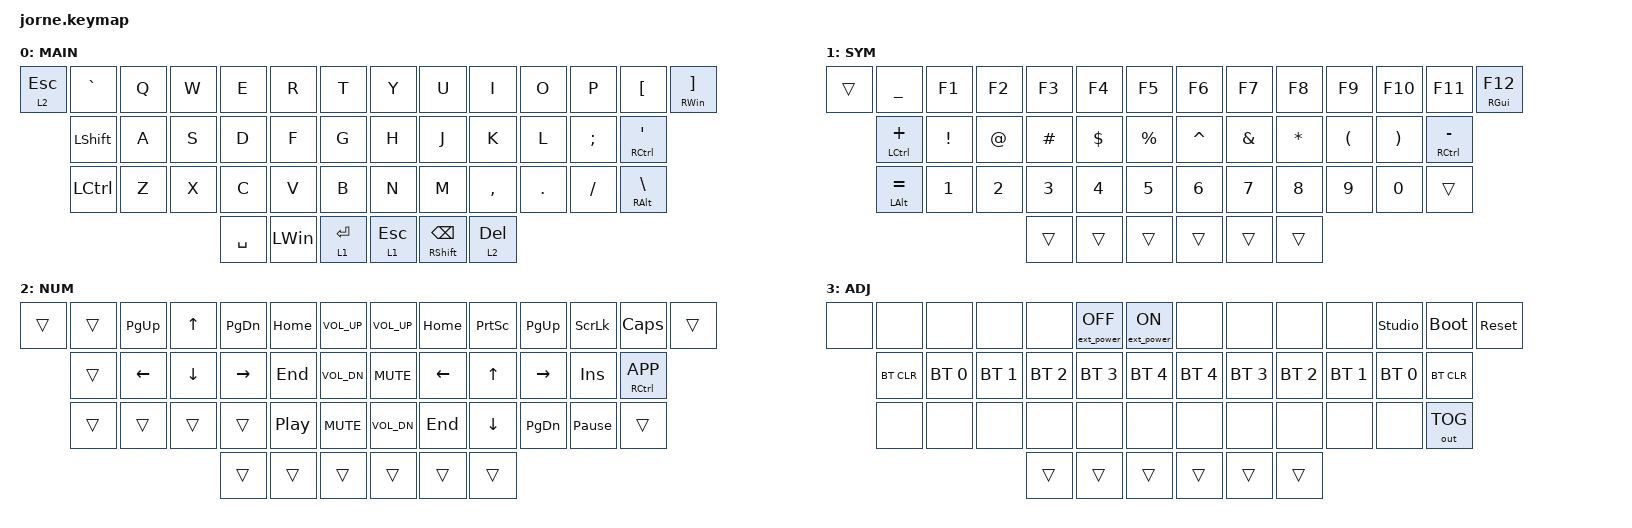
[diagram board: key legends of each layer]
/*
 * Copyright (c) 2020 The ZMK Contributors
 *
 * SPDX-License-Identifier: MIT
 */

#include <behaviors.dtsi>
#include <dt-bindings/zmk/bt.h>
#include <dt-bindings/zmk/ext_power.h>
#include <dt-bindings/zmk/keys.h>
#include <dt-bindings/zmk/outputs.h>

#define DEF 0
#define LWR 1
#define RSE 2
#define ADJ 3

&lt { quick-tap-ms = <200>; };

&mt { quick-tap-ms = <200>; };

/ {
    conditional_layers {
        compatible = "zmk,conditional-layers";

        tri_layer {
            if-layers = <1 2>;
            then-layer = <3>;
        };
    };

    combos { compatible = "zmk,combos"; };

    keymap {
        compatible = "zmk,keymap";

        default_layer {
            display-name = "MAIN";

            // -----------------------------------------------------------------------------------------
            // |  GUI |   ~  |  Q  |  W  |  E  |  R  |  T  |   |  Y  |  U   |  I  |  O  |  P  |  [   | GUI/] |
            //        | CTRL |  A  |  S  |  D  |  F  |  G  |   |  H  |  J   |  K  |  L  |  ;  |CTRL/'|
            //        | LALT |  Z  |  X  |  C  |  V  |  B  |   |  N  |  M   |  ,  |  .  |  /  |RALT/\|
            //                           | RSE | SPC | LWR |   | LWR | BSPC | RSE |

            bindings = <
&lt 2 ESCAPE  &kp GRAVE         &kp Q  &kp W  &kp E      &kp R         &kp T          &kp Y      &kp U           &kp I      &kp O    &kp P     &kp LBKT       &mt RWIN RBKT
              &kp LEFT_SHIFT    &kp A  &kp S  &kp D      &kp F         &kp G          &kp H      &kp J           &kp K      &kp L    &kp SEMI  &mt RCTRL SQT
              &kp LEFT_CONTROL  &kp Z  &kp X  &kp C      &kp V         &kp B          &kp N      &kp M           &kp COMMA  &kp DOT  &kp FSLH  &mt RALT BSLH
                                              &kp SPACE  &kp LEFT_WIN  &lt 1 ENTER    &lt 1 ESC  &mt RSHFT BSPC  &lt 2 DEL
            >;
        };

        lower_layer {
            display-name = "SYM";

            // -----------------------------------------------------------------------------------------
            // |     |  _  |  F1 |  F2 |  F3 |  F4 |  F5 |   |  F6 |  F7 |  F8 |  F9 | F10 | F11 | F12 |
            //       |  +  |  !  |  @  |  #  |  $  |  %  |   |  ^  |  &  |  *  |  (  |  )  |  -  |
            //       |  =  |  1  |  2  |  3  |  4  |  5  |   |  6  |  7  |  8  |  9  |  0  |     |
            //                         | ADJ |     |     |   |     |     | ADJ |

            bindings = <
&trans  &kp UNDER       &kp F1    &kp F2  &kp F3    &kp F4    &kp F5       &kp F6     &kp F7    &kp F8    &kp F9    &kp F10   &kp F11          &mt RGUI F12
        &mt LCTRL PLUS  &kp EXCL  &kp AT  &kp HASH  &kp DLLR  &kp PRCNT    &kp CARET  &kp AMPS  &kp STAR  &kp LPAR  &kp RPAR  &mt RCTRL MINUS
        &mt LALT EQUAL  &kp N1    &kp N2  &kp N3    &kp N4    &kp N5       &kp N6     &kp N7    &kp N8    &kp N9    &kp N0    &trans
                                          &trans    &trans    &trans       &trans     &trans    &trans
            >;
        };

        raise_layer {
            display-name = "NUM";

            // -----------------------------------------------------------------------------------------
            // |     | NMLK |  /  |  7  |  8  |  9  |  -  |   | VOLU| HOME| PRSC| PGUP| SCLK| CLCK|     |
            //       |CTRL/=|  *  |  4  |  5  |  6  |  +  |   | MUT | LEFT|  UP | RGHT| INS | APP |
            //       |      |  0  |  1  |  2  |  3  |  .  |   | VOLD| END | DOWN| PGDN| PAUS|     |
            //                          |     |     | ADJ |   | ADJ |     |     |

            bindings = <
&trans  &trans  &kp PG_UP  &kp UP    &kp PG_DN  &kp HOME          &kp C_VOLUME_UP    &kp C_VOL_UP  &kp HOME  &kp PSCRN  &kp PG_UP  &kp SLCK         &kp CAPS         &trans
        &trans  &kp LEFT   &kp DOWN  &kp RIGHT  &kp END           &kp C_VOL_DN       &kp C_MUTE    &kp LEFT  &kp UP     &kp RIGHT  &kp INS          &mt RCTRL K_APP
        &trans  &trans     &trans    &trans     &kp C_PLAY_PAUSE  &kp C_MUTE         &kp C_VOL_DN  &kp END   &kp DOWN   &kp PG_DN  &kp PAUSE_BREAK  &trans
                                     &trans     &trans            &trans             &trans        &trans    &trans
            >;
        };

        adjust_layer {
            display-name = "ADJ";

            // -----------------------------------------------------------------------------------------
            // | RST | BLDR | STU |     |     |     |     |   |     |     |     |     | STU | BLDR | RST |
            //       | BTCLR| BT0 | BT1 | BT2 | BT3 | BT4 |   | BT4 | BT3 | BT2 | BT1 | BT0 | BTCLR|
            //       | OUT  |     |     |     |     |     |   |     |     |     |     |     | OUT  |
            //                          |     |     |     |   |     |     |     |

            bindings = <
&none  &none       &none         &none         &none         &ext_power EP_OFF  &ext_power EP_ON    &none         &none         &none         &none         &studio_unlock  &bootloader   &sys_reset
       &bt BT_CLR  &bt BT_SEL 0  &bt BT_SEL 1  &bt BT_SEL 2  &bt BT_SEL 3       &bt BT_SEL 4        &bt BT_SEL 4  &bt BT_SEL 3  &bt BT_SEL 2  &bt BT_SEL 1  &bt BT_SEL 0    &bt BT_CLR
       &none       &none         &none         &none         &none              &none               &none         &none         &none         &none         &none           &out OUT_TOG
                                               &trans        &trans             &trans              &trans        &trans        &trans
            >;
        };
    };
};
